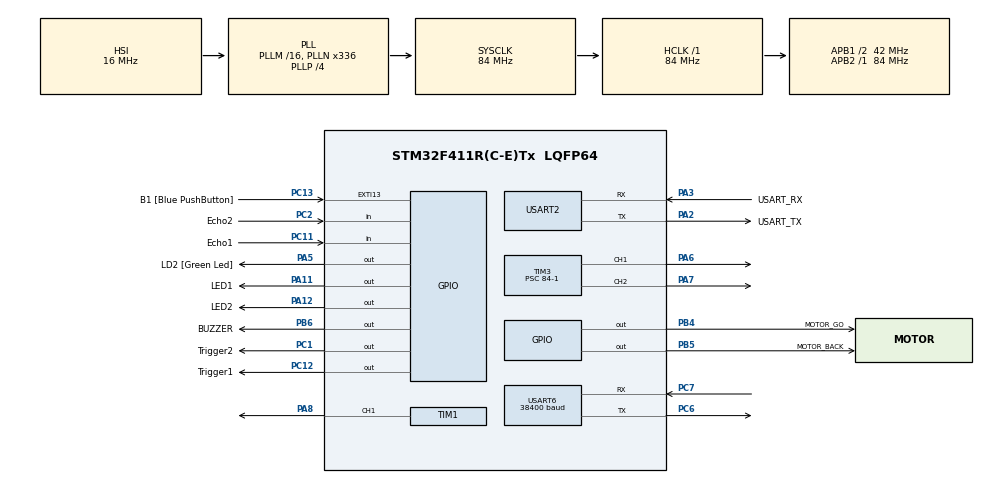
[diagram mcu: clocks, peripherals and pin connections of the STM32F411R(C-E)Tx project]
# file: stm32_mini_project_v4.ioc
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Mcu.Family=STM32F4
Mcu.Name=STM32F411R(C-E)Tx
Mcu.Package=LQFP64
NVIC.PriorityGroup=NVIC_PRIORITYGROUP_0
NVIC.TIM3_IRQn=true\:0\:0\:false\:false\:true\:true\:true\:true
NVIC.TIM4_IRQn=true\:0\:0\:false\:false\:true\:true\:true\:true
NVIC.USART2_IRQn=true\:0\:0\:false\:false\:true\:true\:true\:true
NVIC.USART6_IRQn=true\:0\:0\:false\:false\:true\:true\:true\:true
PA11.GPIO_Label=LED1
PA11.Signal=GPIO_Output
PA12.GPIO_Label=LED2
PA12.Signal=GPIO_Output
PA13.GPIO_Label=TMS
PA13.Mode=Serial_Wire
PA13.Signal=SYS_JTMS-SWDIO
PA14.GPIO_Label=TCK
PA14.Mode=Serial_Wire
PA14.Signal=SYS_JTCK-SWCLK
PA2.GPIO_Label=USART_TX
PA2.Mode=Asynchronous
PA2.Signal=USART2_TX
PA3.GPIO_Label=USART_RX
PA3.Mode=Asynchronous
PA3.Signal=USART2_RX
PA5.GPIO_Label=LD2 [Green Led]
PA5.Signal=GPIO_Output
PA6.Signal=S_TIM3_CH1
PA7.Signal=S_TIM3_CH2
PA8.Signal=S_TIM1_CH1
PB3.GPIO_Label=SWO
PB3.Signal=SYS_JTDO-SWO
PB4.GPIO_Label=MOTOR_GO
PB4.Signal=GPIO_Output
PB5.GPIO_Label=MOTOR_BACK
PB5.Signal=GPIO_Output
PB6.GPIO_Label=BUZZER
PB6.Signal=GPIO_Output
PC1.GPIO_Label=Trigger2
PC1.Signal=GPIO_Output
PC11.GPIO_Label=Echo1
PC11.Signal=GPIO_Input
PC12.GPIO_Label=Trigger1
PC12.Signal=GPIO_Output
PC13-ANTI_TAMP.GPIO_Label=B1 [Blue PushButton]
PC13-ANTI_TAMP.GPIO_ModeDefaultEXTI=GPIO_MODE_IT_FALLING
PC13-ANTI_TAMP.Signal=GPXTI13
PC14-OSC32_IN.Signal=RCC_OSC32_IN
PC15-OSC32_OUT.Signal=RCC_OSC32_OUT
PC2.GPIO_Label=Echo2
PC2.Signal=GPIO_Input
PC6.Mode=Asynchronous
PC6.Signal=USART6_TX
PC7.Mode=Asynchronous
PC7.Signal=USART6_RX
PH0\ -\ OSC_IN.Signal=RCC_OSC_IN
PH1\ -\ OSC_OUT.Signal=RCC_OSC_OUT
ProjectManager.HeapSize=0x200
ProjectManager.StackSize=0x400
ProjectManager.TargetToolchain=STM32CubeIDE
RCC.48MHZClocksFreq_Value=84000000
RCC.AHBFreq_Value=84000000
RCC.APB1CLKDivider=RCC_HCLK_DIV2
RCC.APB1Freq_Value=42000000
RCC.APB1TimFreq_Value=84000000
RCC.APB2Freq_Value=84000000
RCC.APB2TimFreq_Value=84000000
RCC.CortexFreq_Value=84000000
RCC.FLatency-AdvancedSettings=FLASH_LATENCY_2
RCC.HCLKFreq_Value=84000000
RCC.HSE_VALUE=8000000
RCC.HSI_VALUE=16000000
RCC.LSE_VALUE=32768
RCC.PLLN=336
RCC.PLLP=RCC_PLLP_DIV4
RCC.SYSCLKFreq_VALUE=84000000
RCC.SYSCLKSource=RCC_SYSCLKSOURCE_PLLCLK
RCC.VCOOutputFreq_Value=336000000
SH.S_TIM1_CH1.0=TIM1_CH1,PWM Generation1 CH1
SH.S_TIM3_CH1.0=TIM3_CH1,PWM Generation1 CH1
SH.S_TIM3_CH2.0=TIM3_CH2,PWM Generation2 CH2
TIM1.AutoReloadPreload=TIM_AUTORELOAD_PRELOAD_ENABLE
TIM1.Channel-PWM\ Generation1\ CH1=TIM_CHANNEL_1
TIM1.Period=20000-1
TIM1.Prescaler=84-1
TIM3.AutoReloadPreload=TIM_AUTORELOAD_PRELOAD_ENABLE
TIM3.Channel-PWM\ Generation1\ CH1=TIM_CHANNEL_1
TIM3.Channel-PWM\ Generation2\ CH2=TIM_CHANNEL_2
TIM3.Period=20000-1
TIM3.Prescaler=84-1
TIM4.AutoReloadPreload=TIM_AUTORELOAD_PRELOAD_ENABLE
TIM4.Period=20000-1
TIM4.Prescaler=84-1
USART2.VirtualMode=VM_ASYNC
USART6.BaudRate=38400
USART6.VirtualMode=VM_ASYNC
VP_TIM1_VS_ClockSourceINT.Mode=Internal
VP_TIM3_VS_ClockSourceINT.Mode=Internal
VP_TIM4_VS_ClockSourceINT.Mode=Internal
board=NUCLEO-F411RE

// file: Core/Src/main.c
/* USER CODE BEGIN Header */
/**
  ******************************************************************************
  * @file           : main.c
  * @brief          : Main program body
  ******************************************************************************
  * @attention
  *
  * Copyright (c) 2025 STMicroelectronics.
  * All rights reserved.
  *
  * This software is licensed under terms that can be found in the LICENSE file
  * in the root directory of this software component.
  * If no LICENSE file comes with this software, it is provided AS-IS.
  *
  ******************************************************************************
  */
/* USER CODE END Header */
#include "main.h"

/* USER CODE BEGIN Includes */
#include <stdio.h>
#include <string.h>
#include <stdlib.h>
#include "esp.h"
/* USER CODE END Includes */

/* USER CODE BEGIN PD */
#ifdef __GNUC__
/* With GCC, small printf (option LD Linker->Libraries->Small printf
   set to 'Yes') calls __io_putchar() */
#define PUTCHAR_PROTOTYPE int __io_putchar(int ch)
#else
#define PUTCHAR_PROTOTYPE int fputc(int ch, FILE *f)
#endif /* __GNUC__ */

#define ARR_CNT 5
#define CMD_SIZE 50
/* USER CODE END PD */

TIM_HandleTypeDef htim1;
TIM_HandleTypeDef htim3;
TIM_HandleTypeDef htim4;

UART_HandleTypeDef huart2;
UART_HandleTypeDef huart6;

/* USER CODE BEGIN PV */
uint8_t rx2char;
extern cb_data_t cb_data;
extern volatile unsigned char rx2Flag;
extern volatile char rx2Data[50];
volatile int tim3Flag1Sec=1;
volatile unsigned int tim3Sec;
volatile unsigned int tim3Sec2 = 0;

char strBuff[MAX_ESP_COMMAND_LEN];

int start_sys_flag = 0;

int Distance1 = 0;
int Distance2 = 0;

int pulse = 20000;

int tim3Flag100ms = 0;

int servo_pulse = 1000;
/* USER CODE END PV */

void SystemClock_Config(void);
static void MX_GPIO_Init(void);
static void MX_USART2_UART_Init(void);
static void MX_TIM3_Init(void);
static void MX_TIM4_Init(void);
static void MX_USART6_UART_Init(void);
static void MX_TIM1_Init(void);
/* USER CODE BEGIN PFP */
void esp_event(char *);
long map(long x, long in_min, long in_max, long out_min, long out_max);
void calc_distance1();
void calc_distance2();
void servo_motor_control();
void dc_motor(int pulse);
void BUZZER();
/* USER CODE END PFP */

int main(void)
{

  /* USER CODE BEGIN 1 */
	int ret = 0;
  /* USER CODE END 1 */

  /* MCU Configuration--------------------------------------------------------*/

  /* Reset of all peripherals, Initializes the Flash interface and the Systick. */
  HAL_Init();

  /* Configure the system clock */
  SystemClock_Config();

  /* Initialize all configured peripherals */
  MX_GPIO_Init();
  MX_USART2_UART_Init();
  MX_TIM3_Init();
  MX_TIM4_Init();
  MX_USART6_UART_Init();
  MX_TIM1_Init();
  /* USER CODE BEGIN 2 */
  printf("Start main() - wifi\r\n");
  ret |= drv_uart_init();
  ret |= drv_esp_init();
  if(ret != 0)
  {
	  printf("Esp response error\r\n");
	  Error_Handler();
  }

  AiotClient_Init();

  if(HAL_TIM_Base_Start_IT(&htim3) != HAL_OK)
  {
	  Error_Handler();
  }
  if(HAL_TIM_Base_Start(&htim4)!= HAL_OK)
  {
	  Error_Handler();
  }
  if(HAL_TIM_PWM_Start(&htim3, TIM_CHANNEL_1) != HAL_OK)
  {
	  Error_Handler();
  }
  if(HAL_TIM_PWM_Start(&htim3, TIM_CHANNEL_2) != HAL_OK)
  {
	  Error_Handler();
  }
  if(HAL_TIM_PWM_Start(&htim1, TIM_CHANNEL_1) != HAL_OK){
	  Error_Handler();
  }
  __HAL_TIM_SetCompare(&htim3, TIM_CHANNEL_1, servo_pulse);
  __HAL_TIM_SetCompare(&htim3, TIM_CHANNEL_2, pulse);
  /* USER CODE END 2 */

  /* Infinite loop */
  /* USER CODE BEGIN WHILE */
  while (1)
  {
		if(strstr((char *)cb_data.buf,"+IPD") && cb_data.buf[cb_data.length-1] == '\n')
		{
			//?��?��?���??  \r\n+IPD,15:[KSH_LIN]HELLO\n
			strcpy(strBuff,strchr((char *)cb_data.buf,'['));
			memset(cb_data.buf,0x0,sizeof(cb_data.buf));
			cb_data.length = 0;
			esp_event(strBuff);
		}
		if(tim3Flag1Sec)	//1초에 한번
		{
			tim3Flag1Sec = 0;
			if(!(tim3Sec%10)) //10초에 한번
			{
				if(esp_get_status() != 0)
				{
					printf("server connecting ...\r\n");
					esp_client_conn();
				}
			}
		}
		if(start_sys_flag){
			if(tim3Flag100ms){
				tim3Flag100ms = 0;
				BUZZER();
				pulse -= 2000;
				if(!(tim3Sec2 % 5)){
					servo_pulse += 1000;
				}
			}
			servo_motor_control(servo_pulse);
			calc_distance1();
			calc_distance2();
			dc_motor(pulse);
			servo_motor_control(servo_pulse);
			printf("distance1 : %d cm\r\n",Distance1);
			printf("distance2 : %d cm\r\n",Distance2);
		}
    /* USER CODE END WHILE */

  }
}

void SystemClock_Config(void)
{
  RCC_OscInitTypeDef RCC_OscInitStruct = {0};
  RCC_ClkInitTypeDef RCC_ClkInitStruct = {0};

  /** Configure the main internal regulator output voltage
  */
  __HAL_RCC_PWR_CLK_ENABLE();
  __HAL_PWR_VOLTAGESCALING_CONFIG(PWR_REGULATOR_VOLTAGE_SCALE1);

  /** Initializes the RCC Oscillators according to the specified parameters
  * in the RCC_OscInitTypeDef structure.
  */
  RCC_OscInitStruct.OscillatorType = RCC_OSCILLATORTYPE_HSI;
  RCC_OscInitStruct.HSIState = RCC_HSI_ON;
  RCC_OscInitStruct.HSICalibrationValue = RCC_HSICALIBRATION_DEFAULT;
  RCC_OscInitStruct.PLL.PLLState = RCC_PLL_ON;
  RCC_OscInitStruct.PLL.PLLSource = RCC_PLLSOURCE_HSI;
  RCC_OscInitStruct.PLL.PLLM = 16;
  RCC_OscInitStruct.PLL.PLLN = 336;
  RCC_OscInitStruct.PLL.PLLP = RCC_PLLP_DIV4;
  RCC_OscInitStruct.PLL.PLLQ = 4;
  if (HAL_RCC_OscConfig(&RCC_OscInitStruct) != HAL_OK)
  {
    Error_Handler();
  }

  /** Initializes the CPU, AHB and APB buses clocks
  */
  RCC_ClkInitStruct.ClockType = RCC_CLOCKTYPE_HCLK|RCC_CLOCKTYPE_SYSCLK
                              |RCC_CLOCKTYPE_PCLK1|RCC_CLOCKTYPE_PCLK2;
  RCC_ClkInitStruct.SYSCLKSource = RCC_SYSCLKSOURCE_PLLCLK;
  RCC_ClkInitStruct.AHBCLKDivider = RCC_SYSCLK_DIV1;
  RCC_ClkInitStruct.APB1CLKDivider = RCC_HCLK_DIV2;
  RCC_ClkInitStruct.APB2CLKDivider = RCC_HCLK_DIV1;

  if (HAL_RCC_ClockConfig(&RCC_ClkInitStruct, FLASH_LATENCY_2) != HAL_OK)
  {
    Error_Handler();
  }
}

static void MX_TIM1_Init(void)
{

  TIM_ClockConfigTypeDef sClockSourceConfig = {0};
  TIM_MasterConfigTypeDef sMasterConfig = {0};
  TIM_OC_InitTypeDef sConfigOC = {0};
  TIM_BreakDeadTimeConfigTypeDef sBreakDeadTimeConfig = {0};

  htim1.Instance = TIM1;
  htim1.Init.Prescaler = 84-1;
  htim1.Init.CounterMode = TIM_COUNTERMODE_UP;
  htim1.Init.Period = 20000-1;
  htim1.Init.ClockDivision = TIM_CLOCKDIVISION_DIV1;
  htim1.Init.RepetitionCounter = 0;
  htim1.Init.AutoReloadPreload = TIM_AUTORELOAD_PRELOAD_ENABLE;
  if (HAL_TIM_Base_Init(&htim1) != HAL_OK)
  {
    Error_Handler();
  }
  sClockSourceConfig.ClockSource = TIM_CLOCKSOURCE_INTERNAL;
  if (HAL_TIM_ConfigClockSource(&htim1, &sClockSourceConfig) != HAL_OK)
  {
    Error_Handler();
  }
  if (HAL_TIM_PWM_Init(&htim1) != HAL_OK)
  {
    Error_Handler();
  }
  sMasterConfig.MasterOutputTrigger = TIM_TRGO_RESET;
  sMasterConfig.MasterSlaveMode = TIM_MASTERSLAVEMODE_DISABLE;
  if (HAL_TIMEx_MasterConfigSynchronization(&htim1, &sMasterConfig) != HAL_OK)
  {
    Error_Handler();
  }
  sConfigOC.OCMode = TIM_OCMODE_PWM1;
  sConfigOC.Pulse = 0;
  sConfigOC.OCPolarity = TIM_OCPOLARITY_HIGH;
  sConfigOC.OCNPolarity = TIM_OCNPOLARITY_HIGH;
  sConfigOC.OCFastMode = TIM_OCFAST_DISABLE;
  sConfigOC.OCIdleState = TIM_OCIDLESTATE_RESET;
  sConfigOC.OCNIdleState = TIM_OCNIDLESTATE_RESET;
  if (HAL_TIM_PWM_ConfigChannel(&htim1, &sConfigOC, TIM_CHANNEL_1) != HAL_OK)
  {
    Error_Handler();
  }
  sBreakDeadTimeConfig.OffStateRunMode = TIM_OSSR_DISABLE;
  sBreakDeadTimeConfig.OffStateIDLEMode = TIM_OSSI_DISABLE;
  sBreakDeadTimeConfig.LockLevel = TIM_LOCKLEVEL_OFF;
  sBreakDeadTimeConfig.DeadTime = 0;
  sBreakDeadTimeConfig.BreakState = TIM_BREAK_DISABLE;
  sBreakDeadTimeConfig.BreakPolarity = TIM_BREAKPOLARITY_HIGH;
  sBreakDeadTimeConfig.AutomaticOutput = TIM_AUTOMATICOUTPUT_DISABLE;
  if (HAL_TIMEx_ConfigBreakDeadTime(&htim1, &sBreakDeadTimeConfig) != HAL_OK)
  {
    Error_Handler();
  }
  HAL_TIM_MspPostInit(&htim1);

}

static void MX_TIM3_Init(void)
{

  TIM_ClockConfigTypeDef sClockSourceConfig = {0};
  TIM_MasterConfigTypeDef sMasterConfig = {0};
  TIM_OC_InitTypeDef sConfigOC = {0};

  htim3.Instance = TIM3;
  htim3.Init.Prescaler = 84-1;
  htim3.Init.CounterMode = TIM_COUNTERMODE_UP;
  htim3.Init.Period = 20000-1;
  htim3.Init.ClockDivision = TIM_CLOCKDIVISION_DIV1;
  htim3.Init.AutoReloadPreload = TIM_AUTORELOAD_PRELOAD_ENABLE;
  if (HAL_TIM_Base_Init(&htim3) != HAL_OK)
  {
    Error_Handler();
  }
  sClockSourceConfig.ClockSource = TIM_CLOCKSOURCE_INTERNAL;
  if (HAL_TIM_ConfigClockSource(&htim3, &sClockSourceConfig) != HAL_OK)
  {
    Error_Handler();
  }
  if (HAL_TIM_PWM_Init(&htim3) != HAL_OK)
  {
    Error_Handler();
  }
  sMasterConfig.MasterOutputTrigger = TIM_TRGO_RESET;
  sMasterConfig.MasterSlaveMode = TIM_MASTERSLAVEMODE_DISABLE;
  if (HAL_TIMEx_MasterConfigSynchronization(&htim3, &sMasterConfig) != HAL_OK)
  {
    Error_Handler();
  }
  sConfigOC.OCMode = TIM_OCMODE_PWM1;
  sConfigOC.Pulse = 0;
  sConfigOC.OCPolarity = TIM_OCPOLARITY_HIGH;
  sConfigOC.OCFastMode = TIM_OCFAST_DISABLE;
  if (HAL_TIM_PWM_ConfigChannel(&htim3, &sConfigOC, TIM_CHANNEL_1) != HAL_OK)
  {
    Error_Handler();
  }
  if (HAL_TIM_PWM_ConfigChannel(&htim3, &sConfigOC, TIM_CHANNEL_2) != HAL_OK)
  {
    Error_Handler();
  }
  HAL_TIM_MspPostInit(&htim3);

}

static void MX_TIM4_Init(void)
{

  TIM_ClockConfigTypeDef sClockSourceConfig = {0};
  TIM_MasterConfigTypeDef sMasterConfig = {0};

  htim4.Instance = TIM4;
  htim4.Init.Prescaler = 84-1;
  htim4.Init.CounterMode = TIM_COUNTERMODE_UP;
  htim4.Init.Period = 20000-1;
  htim4.Init.ClockDivision = TIM_CLOCKDIVISION_DIV1;
  htim4.Init.AutoReloadPreload = TIM_AUTORELOAD_PRELOAD_ENABLE;
  if (HAL_TIM_Base_Init(&htim4) != HAL_OK)
  {
    Error_Handler();
  }
  sClockSourceConfig.ClockSource = TIM_CLOCKSOURCE_INTERNAL;
  if (HAL_TIM_ConfigClockSource(&htim4, &sClockSourceConfig) != HAL_OK)
  {
    Error_Handler();
  }
  sMasterConfig.MasterOutputTrigger = TIM_TRGO_RESET;
  sMasterConfig.MasterSlaveMode = TIM_MASTERSLAVEMODE_DISABLE;
  if (HAL_TIMEx_MasterConfigSynchronization(&htim4, &sMasterConfig) != HAL_OK)
  {
    Error_Handler();
  }

}

static void MX_USART2_UART_Init(void)
{

  huart2.Instance = USART2;
  huart2.Init.BaudRate = 115200;
  huart2.Init.WordLength = UART_WORDLENGTH_8B;
  huart2.Init.StopBits = UART_STOPBITS_1;
  huart2.Init.Parity = UART_PARITY_NONE;
  huart2.Init.Mode = UART_MODE_TX_RX;
  huart2.Init.HwFlowCtl = UART_HWCONTROL_NONE;
  huart2.Init.OverSampling = UART_OVERSAMPLING_16;
  if (HAL_UART_Init(&huart2) != HAL_OK)
  {
    Error_Handler();
  }

}

static void MX_USART6_UART_Init(void)
{

  huart6.Instance = USART6;
  huart6.Init.BaudRate = 38400;
  huart6.Init.WordLength = UART_WORDLENGTH_8B;
  huart6.Init.StopBits = UART_STOPBITS_1;
  huart6.Init.Parity = UART_PARITY_NONE;
  huart6.Init.Mode = UART_MODE_TX_RX;
  huart6.Init.HwFlowCtl = UART_HWCONTROL_NONE;
  huart6.Init.OverSampling = UART_OVERSAMPLING_16;
  if (HAL_UART_Init(&huart6) != HAL_OK)
  {
    Error_Handler();
  }

}

static void MX_GPIO_Init(void)
{
  GPIO_InitTypeDef GPIO_InitStruct = {0};

  /* GPIO Ports Clock Enable */
  __HAL_RCC_GPIOC_CLK_ENABLE();
  __HAL_RCC_GPIOH_CLK_ENABLE();
  __HAL_RCC_GPIOA_CLK_ENABLE();
  __HAL_RCC_GPIOB_CLK_ENABLE();

  /*Configure GPIO pin Output Level */
  HAL_GPIO_WritePin(GPIOC, Trigger2_Pin|Trigger1_Pin, GPIO_PIN_RESET);

  /*Configure GPIO pin Output Level */
  HAL_GPIO_WritePin(GPIOA, LD2_Pin|LED1_Pin|LED2_Pin, GPIO_PIN_RESET);

  /*Configure GPIO pin Output Level */
  HAL_GPIO_WritePin(GPIOB, MOTOR_GO_Pin|MOTOR_BACK_Pin|BUZZER_Pin, GPIO_PIN_RESET);

  /*Configure GPIO pin : B1_Pin */
  GPIO_InitStruct.Pin = B1_Pin;
  GPIO_InitStruct.Mode = GPIO_MODE_IT_FALLING;
  GPIO_InitStruct.Pull = GPIO_NOPULL;
  HAL_GPIO_Init(B1_GPIO_Port, &GPIO_InitStruct);

  /*Configure GPIO pins : Trigger2_Pin Trigger1_Pin */
  GPIO_InitStruct.Pin = Trigger2_Pin|Trigger1_Pin;
  GPIO_InitStruct.Mode = GPIO_MODE_OUTPUT_PP;
  GPIO_InitStruct.Pull = GPIO_NOPULL;
  GPIO_InitStruct.Speed = GPIO_SPEED_FREQ_LOW;
  HAL_GPIO_Init(GPIOC, &GPIO_InitStruct);

  /*Configure GPIO pins : Echo2_Pin Echo1_Pin */
  GPIO_InitStruct.Pin = Echo2_Pin|Echo1_Pin;
  GPIO_InitStruct.Mode = GPIO_MODE_INPUT;
  GPIO_InitStruct.Pull = GPIO_NOPULL;
  HAL_GPIO_Init(GPIOC, &GPIO_InitStruct);

  /*Configure GPIO pins : LD2_Pin LED1_Pin LED2_Pin */
  GPIO_InitStruct.Pin = LD2_Pin|LED1_Pin|LED2_Pin;
  GPIO_InitStruct.Mode = GPIO_MODE_OUTPUT_PP;
  GPIO_InitStruct.Pull = GPIO_NOPULL;
  GPIO_InitStruct.Speed = GPIO_SPEED_FREQ_LOW;
  HAL_GPIO_Init(GPIOA, &GPIO_InitStruct);

  /*Configure GPIO pins : MOTOR_GO_Pin MOTOR_BACK_Pin BUZZER_Pin */
  GPIO_InitStruct.Pin = MOTOR_GO_Pin|MOTOR_BACK_Pin|BUZZER_Pin;
  GPIO_InitStruct.Mode = GPIO_MODE_OUTPUT_PP;
  GPIO_InitStruct.Pull = GPIO_NOPULL;
  GPIO_InitStruct.Speed = GPIO_SPEED_FREQ_LOW;
  HAL_GPIO_Init(GPIOB, &GPIO_InitStruct);

}

/* USER CODE BEGIN 4 */
void HAL_TIM_PeriodElapsedCallback(TIM_HandleTypeDef *htim)		//1ms 마다 호출
{
	if(htim->Instance==TIM3){
		static int tim3Cnt = 0;
		tim3Cnt++;
		if(tim3Cnt > 50) //1ms * 1000 = 1Sec
		{
			tim3Flag1Sec = 1;
			tim3Flag100ms = 1;
			tim3Sec2++;
			tim3Sec++;
			tim3Cnt = 0;
		}
	}
}

void esp_event(char * recvBuf)
{
  int i=0;
  char * pToken;
  char * pArray[ARR_CNT]={0};
  char sendBuf[MAX_UART_COMMAND_LEN]={0};

  strBuff[strlen(recvBuf)-1] = '\0';	//'\n' cut
  printf("\r\nDebug recv : %s\r\n",recvBuf);

  pToken = strtok(recvBuf,"[@]");
  while(pToken != NULL)
  {
    pArray[i] = pToken;
    if(++i >= ARR_CNT)
      break;
    pToken = strtok(NULL,"[@]");
  }

  if(!strcmp(pArray[1],"DETECT"))
  {
  	if(!strcmp(pArray[2],"ON"))
  	{
  		start_sys_flag = 1;
  	}
	else if(!strcmp(pArray[2],"OFF"))
	{
		start_sys_flag = 0;
	}
	sprintf(sendBuf,"[%s]%s@%s\n",pArray[0],pArray[1],pArray[2]);
  }
  else if(!strncmp(pArray[1]," New conn",8))
  {
//	   printf("Debug : %s, %s\r\n",pArray[0],pArray[1]);
     return;
  }
  else if(!strncmp(pArray[1]," Already log",8))
  {
// 	    printf("Debug : %s, %s\r\n",pArray[0],pArray[1]);
	  esp_client_conn();
      return;
  }
  else
      return;

  esp_send_data(sendBuf);
  printf("Debug send : %s\r\n",sendBuf);
}
void calc_distance1()
{
	uint32_t Value2 = 0;
	uint32_t Value1 = 0;
	uint32_t pMillis = 0;
	HAL_GPIO_WritePin(Trigger1_GPIO_Port, Trigger1_Pin, GPIO_PIN_SET);  // pull the TRIG pin HIGH
	__HAL_TIM_SET_COUNTER(&htim4, 0);
	while (__HAL_TIM_GET_COUNTER (&htim4) < 10);  // wait for 10 us
	HAL_GPIO_WritePin(Trigger1_GPIO_Port, Trigger1_Pin, GPIO_PIN_RESET);  // pull the TRIG pin low

	pMillis = HAL_GetTick(); // used this to avoid infinite while loop  (for timeout)
	  // wait for the echo pin to go high
	while (!(HAL_GPIO_ReadPin (Echo1_GPIO_Port, Echo1_Pin)) && pMillis + 10 >  HAL_GetTick());
	Value1 = __HAL_TIM_GET_COUNTER (&htim4);

	pMillis = HAL_GetTick(); // used this to avoid infinite while loop (for timeout)
	// wait for the echo pin to go low
	while ((HAL_GPIO_ReadPin (Echo1_GPIO_Port, Echo1_Pin)) && pMillis + 50 > HAL_GetTick());
	Value2 = __HAL_TIM_GET_COUNTER (&htim4);

	Distance1 = (Value2-Value1)* 0.034/2;
}
void calc_distance2()
{
	uint32_t Value2 = 0;
	uint32_t Value1 = 0;
	uint32_t pMillis = 0;
	HAL_GPIO_WritePin(Trigger2_GPIO_Port, Trigger2_Pin, GPIO_PIN_SET);  // pull the TRIG pin HIGH
	__HAL_TIM_SET_COUNTER(&htim4, 0);
	while (__HAL_TIM_GET_COUNTER (&htim4) < 10);  // wait for 10 us
	HAL_GPIO_WritePin(Trigger2_GPIO_Port, Trigger2_Pin, GPIO_PIN_RESET);  // pull the TRIG pin low

	pMillis = HAL_GetTick(); // used this to avoid infinite while loop  (for timeout)
	  // wait for the echo pin to go high
	while (!(HAL_GPIO_ReadPin (Echo2_GPIO_Port, Echo2_Pin)) && pMillis + 10 >  HAL_GetTick());
	Value1 = __HAL_TIM_GET_COUNTER (&htim4);

	pMillis = HAL_GetTick(); // used this to avoid infinite while loop (for timeout)
	// wait for the echo pin to go low
	while ((HAL_GPIO_ReadPin (Echo2_GPIO_Port, Echo2_Pin)) && pMillis + 50 > HAL_GetTick());
	Value2 = __HAL_TIM_GET_COUNTER (&htim4);

	Distance2 = (Value2-Value1)* 0.034/2;
}
void servo_motor_control(int servo_pulse)
{
	__HAL_TIM_SetCompare(&htim3, TIM_CHANNEL_1, servo_pulse);
}

void dc_motor(int pulse)
{
	HAL_GPIO_WritePin(MOTOR_GO_GPIO_Port, MOTOR_GO_Pin, GPIO_PIN_SET);
	HAL_GPIO_WritePin(MOTOR_BACK_GPIO_Port, MOTOR_BACK_Pin, GPIO_PIN_RESET);
	__HAL_TIM_SetCompare(&htim3, TIM_CHANNEL_2, (pulse < 0 ? 0 : pulse));
}

void BUZZER()
{
	HAL_GPIO_TogglePin(BUZZER_GPIO_Port, BUZZER_Pin);
	HAL_GPIO_TogglePin(LED1_GPIO_Port, LED1_Pin);
	HAL_GPIO_TogglePin(LED2_GPIO_Port, LED2_Pin);
}

/* USER CODE END 4 */

void Error_Handler(void)
{
  __disable_irq();
  while (1)
  {
  }
}
